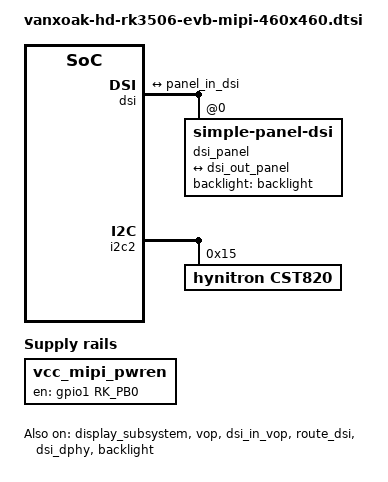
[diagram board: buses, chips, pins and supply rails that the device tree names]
#include <dt-bindings/display/drm_mipi_dsi.h>
#include <dt-bindings/input/rk-input.h>
#include <dt-bindings/suspend/rockchip-rk3506.h>

/ {
	vcc_mipi_pwren: vcc-mipi_pwren-regulator {
		compatible = "regulator-fixed";
		regulator-boot-on;
		regulator-always-on;
		regulator-name = "vcc_mipi_pwren";
		enable-active-high;
		gpio = <&gpio1 RK_PB0 GPIO_ACTIVE_HIGH>;
		pinctrl-name = "default";
		pinctrl-0 = <&mipi_pwren_gpio>;
	};
};

&dsi {
	status = "okay";
	//rockchip,lane-rate = <1000>;
	dsi_panel: panel@0 {
		status = "okay";
		compatible = "simple-panel-dsi";
		reg = <0>;
		backlight = <&backlight>;
		// power-supply = <&vcc3v3_lcd_n>;
		// reset-gpio = <&gpio1 RK_PB0 GPIO_ACTIVE_LOW>;
		reset-delay-ms = <10>;
		enable-delay-ms = <10>;
		prepare-delay-ms = <10>;
		unprepare-delay-ms = <10>;
		disable-delay-ms = <60>;
		//width-mm = <68>;
		//height-mm = <121>;
		dsi,flags = <(MIPI_DSI_MODE_VIDEO | MIPI_DSI_MODE_VIDEO_BURST |
				  MIPI_DSI_MODE_LPM | MIPI_DSI_MODE_NO_EOT_PACKET)>;
		dsi,format = <MIPI_DSI_FMT_RGB888>;
		dsi,lanes  = <1>;

        // 2.0-inch CO5300 (460x460)
        panel-init-sequence = [
			15 00 02 FE 00
			15 00 02 3A 77
			15 00 02 53 20
			15 00 02 51 FF
			15 00 02 63 FF
			39 00 05 2A 00 0A 01 D5
			39 00 05 2B 00 00 01 CB
			05 78 01 11
			05 00 01 29
		];
		
	panel-exit-sequence = [
			05 00 01 28
			05 78 01 10
		];

		disp_timings0: display-timings {
			native-mode = <&dsi_timing0>;
			dsi_timing0: timing0 {
				clock-frequency = <16000000>;//60fps

				hactive = <460>;
				vactive = <460>;

				vsync-len = <2>;
				vback-porch = <4>;
				vfront-porch = <6>;

				hsync-len = <4>;
				hback-porch = <72>;
				hfront-porch = <32>;

				vsync-active = <0>;
				hsync-active = <0>;
				de-active = <0>;
				pixelclk-active = <0>;
			};
		};

		ports {
			#address-cells = <1>;
			#size-cells = <0>;

			port@0 {
				reg = <0>;
				panel_in_dsi: endpoint {
					remote-endpoint = <&dsi_out_panel>;
					status = "okay";
				};
			};
		};
	};

	ports {
		#address-cells = <1>;
		#size-cells = <0>;

		port@1 {
			reg = <1>;
			dsi_out_panel: endpoint {
				remote-endpoint = <&panel_in_dsi>;
			};
		};
	};
};

&display_subsystem {
	status = "okay";
	logo-memory-region = <&drm_logo>;
};

&vop {
	status = "okay";
};

&dsi_in_vop {
	status = "okay";
};

&rgb_in_vop {
	status = "disabled";
};

&route_dsi {
	status = "okay";
	//logo,rotate = <3>;
};

&route_rgb {
	status = "disabled";
};

&dsi_dphy {
	status = "okay";
	/* 1-lane panel: keep D-PHY lane count aligned with dsi,lanes = <1> */
	inno,lanes = <1>;
};

&backlight {
	compatible = "pwm-backlight";
	pwms = <&pwm0_4ch_2 0 10000 0>;
	status = "okay";
};

// TOUCH
&i2c2 {
	status = "okay";
	pinctrl-names = "default";
	pinctrl-0 = <&rm_io4_i2c2_scl &rm_io5_i2c2_sda>;

        cst820: cst820@15 {
		status = "okay";
		compatible = "hynitron,cst820";   /* 匹配 cst820_of_match */
		reg = <0x15>;                     /* I2C 设备地址 */
		pinctrl-names = "default";

		touchscreen-size-x = <460>;       /* 匹配 2.0 寸 cst820 分辨率 */
		touchscreen-size-y = <460>;

		/* 坐标翻转/镜像（按需开启） */
		// touchscreen-inverted-x;
		// touchscreen-inverted-y;
		// touchscreen-swapped-x-y;
	};
};

&pinctrl {
	mipi_lcd{
		mipi_pwren_gpio: mipi_pwren_gpio {
			rockchip,pins = <1 RK_PB0 RK_FUNC_GPIO &pcfg_pull_none>;
		};
	};
};
